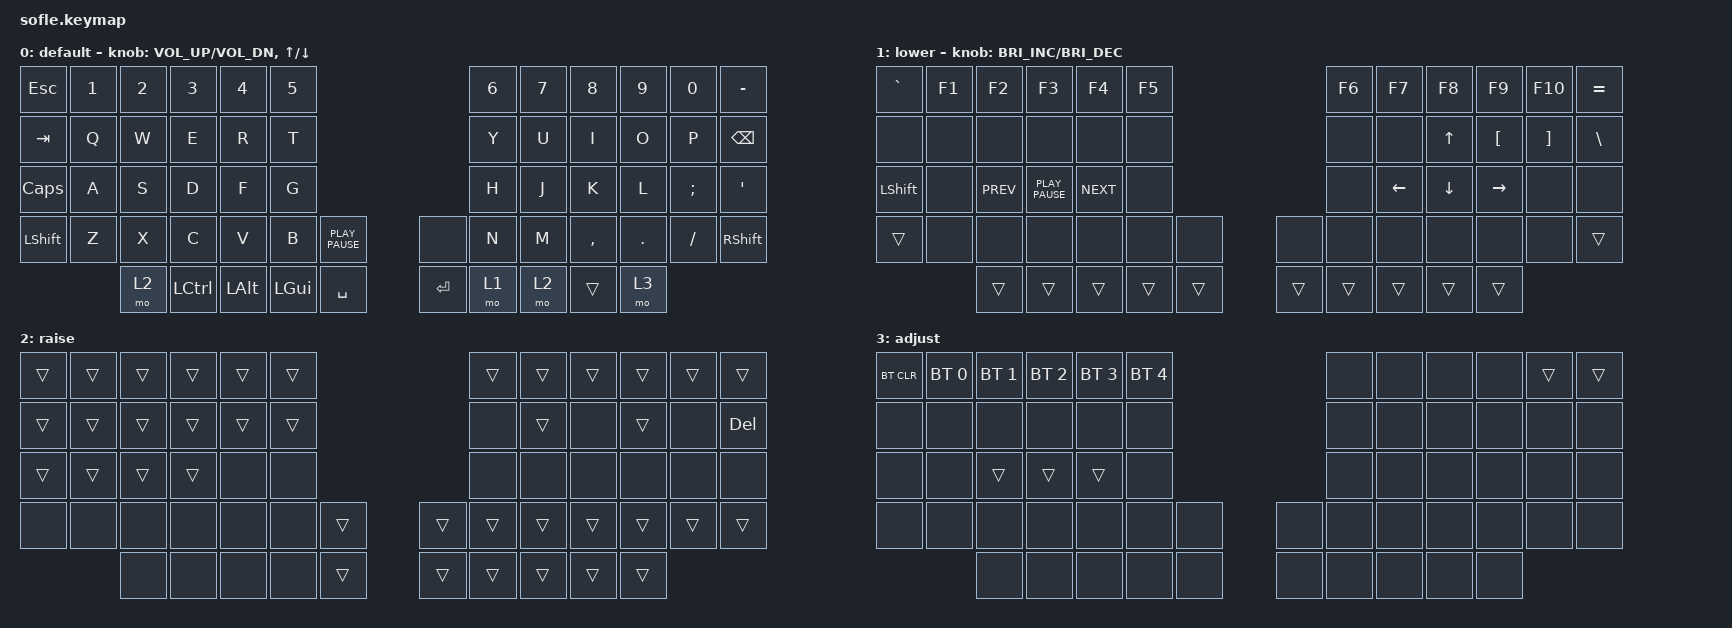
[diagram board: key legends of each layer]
/*
 * Copyright (c) 2020 The ZMK Contributors
 *
 * SPDX-License-Identifier: MIT
 */

#include <behaviors.dtsi>
#include <dt-bindings/zmk/bt.h>
#include <dt-bindings/zmk/keys.h>

#define BASE 0
#define LOWER 1
#define RAISE 2
#define ADJUST 3

/ {
    // Activate ADJUST layer by pressing raise and lower

    conditional_layers { compatible = "zmk,conditional-layers"; };

    keymap {
        compatible = "zmk,keymap";

        default_layer {
            display-name = "default";

            // ------------------------------------------------------------------------------------------------------------
            // |   `   |  1  |  2  |  3   |  4   |  5   |                   |  6   |  7    |  8    |  9   |   0   |       |
            // |  ESC  |  Q  |  W  |  E   |  R   |  T   |                   |  Y   |  U    |  I    |  O   |   P   | BKSPC |
            // |  TAB  |  A  |  S  |  D   |  F   |  G   |                   |  H   |  J    |  K    |  L   |   ;   |   '   |
            // | SHIFT |  Z  |  X  |  C   |  V   |  B   |  MUTE  |  |       |  N   |  M    |  ,    |  .   |   /   | SHIFT |
            //               | GUI | ALT  | CTRL | LOWER|  ENTER |  | SPACE | RAISE| CTRL  | ALT   | GUI  |

            bindings = <
&kp ESCAPE  &kp N1  &kp N2  &kp N3            &kp N4    &kp N5                                 &kp N6  &kp N7  &kp N8     &kp N9   &kp N0    &kp MINUS
&kp TAB     &kp Q   &kp W   &kp E             &kp R     &kp T                                  &kp Y   &kp U   &kp I      &kp O    &kp P     &kp BSPC
&kp CAPS    &kp A   &kp S   &kp D             &kp F     &kp G                                  &kp H   &kp J   &kp K      &kp L    &kp SEMI  &kp SQT
&kp LSHFT   &kp Z   &kp X   &kp C             &kp V     &kp B     &kp K_PLAY_PAUSE    &none    &kp N   &kp M   &kp COMMA  &kp DOT  &kp FSLH  &kp RSHFT
                    &mo 2   &kp LEFT_CONTROL  &kp LALT  &kp LGUI  &kp SPACE           &kp RET  &mo 1   &mo 2   &trans     &mo 3
            >;

            sensor-bindings =
                <&inc_dec_kp C_VOL_UP C_VOL_DN>,
                <&inc_dec_kp UP_ARROW DOWN_ARROW>;
        };

        lower_layer {
            display-name = "lower";

            // TODO: Some binds are waiting for shifted keycode support.
            // ------------------------------------------------------------------------------------------------------------
            // |       |  F1 |  F2 |  F3  |  F4  |  F5  |                   |  F6  |  F7   |  F8   |  F9  |  F10  |  F11  |
            // |   `   |  1  |  2  |  3   |  4   |  5   |                   |  6   |  7    |  8    |  9   |   0   |  F12  |
            // |       |  !  |  @  |  #   |  $   |  %   |                   |  ^   |  &    |  *    |  (   |   )   |   |   |
            // |       |  =  |  -  |  +   |  {   |  }   |        |  |       |  [   |  ]    |  ;    |  :   |   \   |       |
            //               |     |      |      |      |        |  |       |      |       |       |      |

            bindings = <
&kp GRAVE  &kp F1  &kp F2      &kp F3            &kp F4      &kp F5                    &kp F6  &kp F7          &kp F8          &kp F9           &kp F10   &kp EQUAL
&none      &none   &none       &none             &none       &none                     &none   &none           &kp UP_ARROW    &kp LBKT         &kp RBKT  &kp BSLH
&kp LSHFT  &none   &kp K_PREV  &kp K_PLAY_PAUSE  &kp K_NEXT  &none                     &none   &kp LEFT_ARROW  &kp DOWN_ARROW  &kp RIGHT_ARROW  &none     &none
&trans     &none   &none       &none             &none       &none   &none     &none   &none   &none           &none           &none            &none     &trans
                   &trans      &trans            &trans      &trans  &trans    &trans  &trans  &trans          &trans          &trans
            >;

            sensor-bindings = <&inc_dec_kp C_BRIGHTNESS_INC C_BRIGHTNESS_DEC>;
        };

        raise_layer {
            display-name = "raise";

            // ------------------------------------------------------------------------------------------------------------
            // | BTCLR | BT1  | BT2  |  BT3  |  BT4  |  BT5 |                |      |      |       |      |       |       |
            // |       | INS  | PSCR | GUI   |       |      |                | PGUP |      |   ^   |      |       |       |
            // |       | ALT  | CTRL | SHIFT |       | CAPS |                | PGDN |   <- |   v   |  ->  |  DEL  | BKSPC |
            // |       | UNDO | CUT  | COPY  | PASTE |      |      |  |      |      |      |       |      |       |       |
            //                |      |       |       |      |      |  |      |      |      |       |      |

            bindings = <
&trans  &trans  &trans  &trans  &trans  &trans                    &trans  &trans  &trans  &trans  &trans  &trans
&trans  &trans  &trans  &trans  &trans  &trans                    &none   &trans  &none   &trans  &none   &kp DELETE
&trans  &trans  &trans  &trans  &none   &none                     &none   &none   &none   &none   &none   &none
&none   &none   &none   &none   &none   &none   &trans    &trans  &trans  &trans  &trans  &trans  &trans  &trans
                &none   &none   &none   &none   &trans    &trans  &trans  &trans  &trans  &trans
            >;
        };

        adjust_layer {
            // ----------------------------------------------------------------------------------------------------------------------------
            // | BTCLR  |  BT1    |  BT2    |   BT3   |   BT4   |   BT5   |                  |      |      |       |      |       |       |
            // | EXTPWR | RGB_HUD | RGB_HUI | RGB_SAD | RGB_SAI | RGB_EFF |                  |      |      |       |      |       |       |
            // |        | RGB_BRD | RGB_BRI |         |         |         |                  |      |      |       |      |       |       |
            // |        |         |         |         |         |         | RGB_TOG | |      |      |      |       |      |       |       |
            //                    |         |         |         |         |         | |      |      |      |       |      |

            display-name = "adjust";
            bindings = <
&bt BT_CLR  &bt BT_SEL 0  &bt BT_SEL 1  &bt BT_SEL 2  &bt BT_SEL 3  &bt BT_SEL 4                  &none  &none  &none  &none  &trans  &trans
&none       &none         &none         &none         &none         &none                         &none  &none  &none  &none  &none   &none
&none       &none         &trans        &trans        &trans        &none                         &none  &none  &none  &none  &none   &none
&none       &none         &none         &none         &none         &none         &none    &none  &none  &none  &none  &none  &none   &none
                          &none         &none         &none         &none         &none    &none  &none  &none  &none  &none
            >;
        };
    };
};
